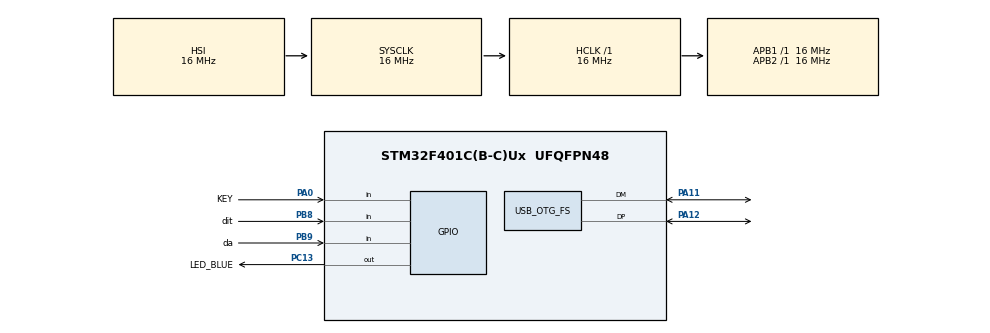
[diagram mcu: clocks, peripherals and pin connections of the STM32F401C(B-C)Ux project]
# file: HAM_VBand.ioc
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Mcu.Family=STM32F4
Mcu.Name=STM32F401C(B-C)Ux
Mcu.Package=UFQFPN48
NVIC.OTG_FS_IRQn=true\:0\:0\:false\:false\:true\:false\:true\:true
NVIC.PriorityGroup=NVIC_PRIORITYGROUP_4
PA0-WKUP.GPIO_Label=KEY
PA0-WKUP.GPIO_PuPd=GPIO_PULLUP
PA0-WKUP.Signal=GPIO_Input
PA11.Mode=Device_Only
PA11.Signal=USB_OTG_FS_DM
PA12.Mode=Device_Only
PA12.Signal=USB_OTG_FS_DP
PA13.Mode=Serial_Wire
PA13.Signal=SYS_JTMS-SWDIO
PA14.Mode=Serial_Wire
PA14.Signal=SYS_JTCK-SWCLK
PB8.GPIO_Label=dit
PB8.GPIO_PuPd=GPIO_PULLUP
PB8.Signal=GPIO_Input
PB9.GPIO_Label=da
PB9.GPIO_PuPd=GPIO_PULLUP
PB9.Signal=GPIO_Input
PC13-ANTI_TAMP.GPIO_Label=LED_BLUE
PC13-ANTI_TAMP.Signal=GPIO_Output
PH0\ -\ OSC_IN.Mode=HSE-External-Oscillator
PH0\ -\ OSC_IN.Signal=RCC_OSC_IN
PH1\ -\ OSC_OUT.Mode=HSE-External-Oscillator
PH1\ -\ OSC_OUT.Signal=RCC_OSC_OUT
ProjectManager.HeapSize=0x200
ProjectManager.StackSize=0x400
ProjectManager.TargetToolchain=STM32CubeIDE
RCC.48MHZClocksFreq_Value=48000000
RCC.AHBFreq_Value=16000000
RCC.APB1Freq_Value=16000000
RCC.APB2Freq_Value=16000000
RCC.CortexFreq_Value=16000000
RCC.HSE_VALUE=25000000
RCC.HSI_VALUE=16000000
RCC.LSE_VALUE=32768
RCC.PLLM=15
RCC.PLLN=144
RCC.PLLQ=5
RCC.SYSCLKFreq_VALUE=16000000
RCC.VCOOutputFreq_Value=240000000
USB_DEVICE.CLASS_NAME_FS=HID
USB_DEVICE.PRODUCT_STRING_HID_FS=STM32 VBand
USB_DEVICE.VirtualMode=Hid
USB_DEVICE.VirtualModeFS=Hid_FS
USB_OTG_FS.VirtualMode=Device_Only
VP_USB_DEVICE_VS_USB_DEVICE_HID_FS.Mode=HID_FS
board=custom

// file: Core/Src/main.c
/* USER CODE BEGIN Header */
/**
  ******************************************************************************
  * @file           : main.c
  * @brief          : Main program body
  ******************************************************************************
  * @attention
  *
  * Copyright (c) 2025 STMicroelectronics.
  * All rights reserved.
  *
  * This software is licensed under terms that can be found in the LICENSE file
  * in the root directory of this software component.
  * If no LICENSE file comes with this software, it is provided AS-IS.
  *
  ******************************************************************************
  */
/* USER CODE END Header */
#include "main.h"
#include "usb_device.h"

/* USER CODE BEGIN Includes */
#include "usbd_hid.h"
/* USER CODE END Includes */

/* USER CODE BEGIN PV */
extern USBD_HandleTypeDef hUsbDeviceFS;
#define PRESS_REPORT_SIZE 8
/* USER CODE END PV */

void SystemClock_Config(void);
static void MX_GPIO_Init(void);

int main(void)
{

  /* USER CODE BEGIN 1 */
  uint8_t press_report[PRESS_REPORT_SIZE] = {0};
  /* USER CODE END 1 */

  /* MCU Configuration--------------------------------------------------------*/

  /* Reset of all peripherals, Initializes the Flash interface and the Systick. */
  HAL_Init();

  /* Configure the system clock */
  SystemClock_Config();

  /* Initialize all configured peripherals */
  MX_GPIO_Init();
  MX_USB_DEVICE_Init();

  /* Infinite loop */
  /* USER CODE BEGIN WHILE */
  HAL_GPIO_WritePin(LED_BLUE_GPIO_Port, LED_BLUE_Pin, GPIO_PIN_RESET);
  HAL_Delay(2000);
  HAL_GPIO_WritePin(LED_BLUE_GPIO_Port, LED_BLUE_Pin, GPIO_PIN_SET);
  while (1)
  {
	  if((HAL_GPIO_ReadPin(dit_GPIO_Port, dit_Pin) == GPIO_PIN_RESET)&
			  (HAL_GPIO_ReadPin(da_GPIO_Port, da_Pin) == GPIO_PIN_RESET)){
		  	press_report[0] = 0x11;  // send LeftControl & RightControl

			USBD_HID_SendReport(&hUsbDeviceFS, press_report, PRESS_REPORT_SIZE);

			HAL_Delay(50);

			press_report[0] = 0;  // send button release

			USBD_HID_SendReport(&hUsbDeviceFS, press_report, PRESS_REPORT_SIZE);

			HAL_Delay(50);
	  }else if(HAL_GPIO_ReadPin(dit_GPIO_Port, dit_Pin) == GPIO_PIN_RESET){
			HAL_GPIO_TogglePin(LED_BLUE_GPIO_Port, LED_BLUE_Pin);

			press_report[0] = 0x01;  //7;// send LeftControl

			USBD_HID_SendReport(&hUsbDeviceFS, press_report, PRESS_REPORT_SIZE);

			HAL_Delay(50);

			press_report[0] = 0;  // send button release

			USBD_HID_SendReport(&hUsbDeviceFS, press_report, PRESS_REPORT_SIZE);

			HAL_Delay(50);
	  }else if(HAL_GPIO_ReadPin(da_GPIO_Port, da_Pin) == GPIO_PIN_RESET){
			HAL_GPIO_TogglePin(LED_BLUE_GPIO_Port, LED_BLUE_Pin);

			press_report[0] = 0x10;  //8;// send RightControl

			USBD_HID_SendReport(&hUsbDeviceFS, press_report, PRESS_REPORT_SIZE);

			HAL_Delay(50);

			press_report[0] = 0;  // send button release

			USBD_HID_SendReport(&hUsbDeviceFS, press_report, PRESS_REPORT_SIZE);

			HAL_Delay(50);
	  }
    /* USER CODE END WHILE */

  }
}

void SystemClock_Config(void)
{
  RCC_OscInitTypeDef RCC_OscInitStruct = {0};
  RCC_ClkInitTypeDef RCC_ClkInitStruct = {0};

  /** Configure the main internal regulator output voltage
  */
  __HAL_RCC_PWR_CLK_ENABLE();
  __HAL_PWR_VOLTAGESCALING_CONFIG(PWR_REGULATOR_VOLTAGE_SCALE2);

  /** Initializes the RCC Oscillators according to the specified parameters
  * in the RCC_OscInitTypeDef structure.
  */
  RCC_OscInitStruct.OscillatorType = RCC_OSCILLATORTYPE_HSI|RCC_OSCILLATORTYPE_HSE;
  RCC_OscInitStruct.HSEState = RCC_HSE_ON;
  RCC_OscInitStruct.HSIState = RCC_HSI_ON;
  RCC_OscInitStruct.HSICalibrationValue = RCC_HSICALIBRATION_DEFAULT;
  RCC_OscInitStruct.PLL.PLLState = RCC_PLL_ON;
  RCC_OscInitStruct.PLL.PLLSource = RCC_PLLSOURCE_HSE;
  RCC_OscInitStruct.PLL.PLLM = 15;
  RCC_OscInitStruct.PLL.PLLN = 144;
  RCC_OscInitStruct.PLL.PLLP = RCC_PLLP_DIV2;
  RCC_OscInitStruct.PLL.PLLQ = 5;
  if (HAL_RCC_OscConfig(&RCC_OscInitStruct) != HAL_OK)
  {
    Error_Handler();
  }

  /** Initializes the CPU, AHB and APB buses clocks
  */
  RCC_ClkInitStruct.ClockType = RCC_CLOCKTYPE_HCLK|RCC_CLOCKTYPE_SYSCLK
                              |RCC_CLOCKTYPE_PCLK1|RCC_CLOCKTYPE_PCLK2;
  RCC_ClkInitStruct.SYSCLKSource = RCC_SYSCLKSOURCE_HSI;
  RCC_ClkInitStruct.AHBCLKDivider = RCC_SYSCLK_DIV1;
  RCC_ClkInitStruct.APB1CLKDivider = RCC_HCLK_DIV1;
  RCC_ClkInitStruct.APB2CLKDivider = RCC_HCLK_DIV1;

  if (HAL_RCC_ClockConfig(&RCC_ClkInitStruct, FLASH_LATENCY_0) != HAL_OK)
  {
    Error_Handler();
  }
}

static void MX_GPIO_Init(void)
{
  GPIO_InitTypeDef GPIO_InitStruct = {0};

  /* GPIO Ports Clock Enable */
  __HAL_RCC_GPIOC_CLK_ENABLE();
  __HAL_RCC_GPIOH_CLK_ENABLE();
  __HAL_RCC_GPIOA_CLK_ENABLE();
  __HAL_RCC_GPIOB_CLK_ENABLE();

  /*Configure GPIO pin Output Level */
  HAL_GPIO_WritePin(LED_BLUE_GPIO_Port, LED_BLUE_Pin, GPIO_PIN_RESET);

  /*Configure GPIO pin : LED_BLUE_Pin */
  GPIO_InitStruct.Pin = LED_BLUE_Pin;
  GPIO_InitStruct.Mode = GPIO_MODE_OUTPUT_PP;
  GPIO_InitStruct.Pull = GPIO_NOPULL;
  GPIO_InitStruct.Speed = GPIO_SPEED_FREQ_LOW;
  HAL_GPIO_Init(LED_BLUE_GPIO_Port, &GPIO_InitStruct);

  /*Configure GPIO pin : KEY_Pin */
  GPIO_InitStruct.Pin = KEY_Pin;
  GPIO_InitStruct.Mode = GPIO_MODE_INPUT;
  GPIO_InitStruct.Pull = GPIO_PULLUP;
  HAL_GPIO_Init(KEY_GPIO_Port, &GPIO_InitStruct);

  /*Configure GPIO pins : dit_Pin da_Pin */
  GPIO_InitStruct.Pin = dit_Pin|da_Pin;
  GPIO_InitStruct.Mode = GPIO_MODE_INPUT;
  GPIO_InitStruct.Pull = GPIO_PULLUP;
  HAL_GPIO_Init(GPIOB, &GPIO_InitStruct);

}

void Error_Handler(void)
{
  __disable_irq();
  while (1)
  {
  }
}
